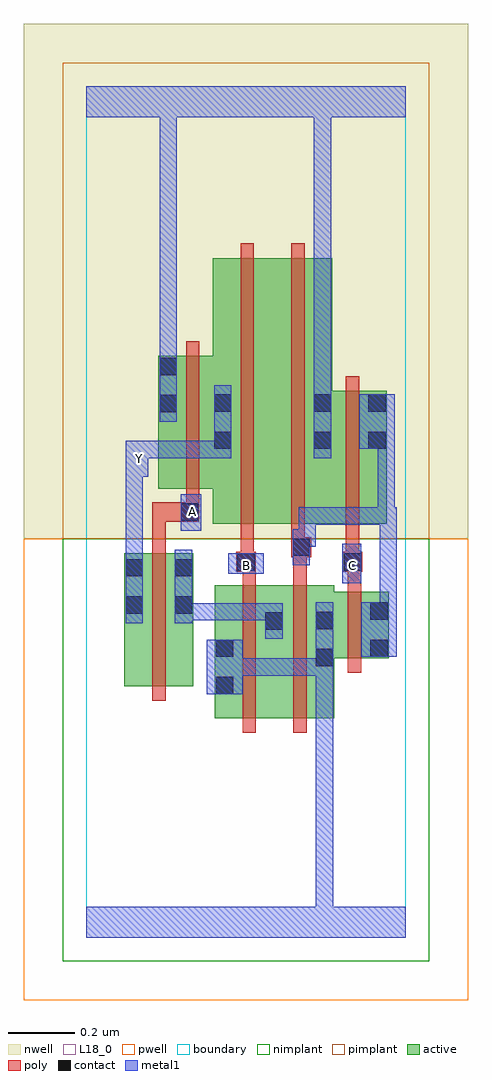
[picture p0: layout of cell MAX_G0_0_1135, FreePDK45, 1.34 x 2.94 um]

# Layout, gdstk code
import gdstk
lib = gdstk.Library(unit=1e-6, precision=1e-09)
def R(c, l, rs):  # rectangles x0, y0, x1, y1
    for r in rs: c.add(gdstk.rectangle(r[:2], r[2:], *l))
active = (1, 0)
pwell = (2, 0)
nwell = (3, 0)
nimplant = (4, 0)
pimplant = (5, 0)
poly = (9, 0)
contact = (10, 0)
metal1 = (11, 0)
L18_0 = (18, 0)
boundary = (235, 0)

max_g0_0_1135 = lib.new_cell('MAX_G0_0_1135')
R(max_g0_0_1135, active, [(0.386,0.66,0.594,1.06), (0.386,0.66,0.446,1.06), (0.534,0.66,0.746,1.06), (0.686,0.66,0.746,0.984), (0.114,0.756,0.322,1.156), (0.114,0.756,0.174,1.156), (0.262,0.756,0.322,1.156), (0.534,0.756,0.594,1.06), (0.686,0.84,0.91,1.04), (0.85,0.84,0.91,1.04), (0.38,1.244,0.56,2.044), (0.56,1.244,0.74,2.044), (0.68,1.244,0.904,1.644), (0.68,1.244,0.74,2.044), (0.844,1.244,0.904,1.644), (0.216,1.35,0.276,1.75), (0.216,1.35,0.44,1.75), (0.38,1.35,0.44,1.768)])
R(max_g0_0_1135, pwell, [(-0.188,-0.188,1.148,1.2)])
R(max_g0_0_1135, nwell, [(-0.188,1.2,1.148,2.748)])
R(max_g0_0_1135, nimplant, [(-0.072,-0.072,1.032,1.2)])
R(max_g0_0_1135, pimplant, [(-0.072,1.2,1.032,2.632)])
R(max_g0_0_1135, poly, [(0.47,0.616,0.51,1.104), (0.622,0.616,0.662,1.104), (0.198,0.712,0.238,1.2), (0.786,0.796,0.826,1.084), (0.786,1.044,0.826,1.14), (0.47,1.064,0.51,1.14), (0.622,1.064,0.662,1.184), (0.45,1.1,0.51,1.16), (0.77,1.1,0.83,1.16), (0.464,1.12,0.504,1.24), (0.464,1.12,0.504,1.16), (0.464,1.12,0.504,1.16), (0.78,1.12,0.82,1.24), (0.78,1.12,0.82,1.16), (0.78,1.12,0.82,1.16), (0.616,1.144,0.676,1.204), (0.622,1.144,0.662,1.184), (0.622,1.144,0.662,1.184), (0.198,1.16,0.238,1.29), (0.616,1.164,0.656,1.24), (0.464,1.2,0.504,2.088), (0.616,1.2,0.656,2.088), (0.78,1.2,0.82,1.688), (0.198,1.25,0.34,1.31), (0.3,1.27,0.34,1.31), (0.3,1.27,0.34,1.31), (0.3,1.27,0.34,1.346), (0.3,1.306,0.34,1.794)])
R(max_g0_0_1135, contact, [(0.39,0.732,0.442,0.784), (0.69,0.816,0.742,0.868), (0.39,0.844,0.442,0.896), (0.854,0.844,0.906,0.896), (0.538,0.926,0.59,0.978), (0.69,0.928,0.742,0.98), (0.854,0.956,0.906,1.008), (0.118,0.974,0.17,1.026), (0.266,0.974,0.318,1.026), (0.118,1.086,0.17,1.138), (0.266,1.086,0.318,1.138), (0.454,1.104,0.506,1.156), (0.774,1.104,0.826,1.156), (0.62,1.148,0.672,1.2), (0.284,1.254,0.336,1.306), (0.384,1.47,0.436,1.522), (0.684,1.47,0.736,1.522), (0.848,1.47,0.9,1.522), (0.22,1.58,0.272,1.632), (0.384,1.582,0.436,1.634), (0.684,1.582,0.736,1.634), (0.848,1.582,0.9,1.634), (0.22,1.692,0.272,1.744)])
R(max_g0_0_1135, metal1, [(0,0,0.96,0.092), (0.69,0.04,0.742,0.092), (0.69,0.04,0.742,0.092), (0.69,0.04,0.742,0.092), (0.69,0.04,0.742,0.092), (0.69,0.04,0.742,0.092), (0.69,0.04,0.742,0.092), (0.69,0.04,0.742,0.092), (0.69,0.04,0.742,0.092), (0.69,0.04,0.742,0.092), (0.69,0.04,0.742,0.092), (0.69,0.04,0.742,0.092), (0.69,0.04,0.742,0.092), (0.69,0.04,0.742,0.84), (0.362,0.732,0.47,0.896), (0.418,0.788,0.47,0.84), (0.418,0.788,0.47,0.84), (0.418,0.788,0.58,0.84), (0.528,0.788,0.58,0.84), (0.528,0.788,0.58,0.84), (0.528,0.788,0.58,0.84), (0.528,0.788,0.742,0.84), (0.69,0.788,0.742,1.008), (0.826,0.844,0.934,1.008), (0.538,0.898,0.59,1.006), (0.118,0.946,0.17,1.166), (0.266,0.946,0.318,1.166), (0.266,0.954,0.428,1.006), (0.376,0.954,0.428,1.006), (0.376,0.954,0.428,1.006), (0.376,0.954,0.428,1.006), (0.376,0.954,0.59,1.006), (0.882,0.956,0.934,1.294), (0.77,1.066,0.826,1.184), (0.426,1.094,0.534,1.156), (0.118,1.114,0.17,1.438), (0.62,1.12,0.672,1.228), (0.62,1.176,0.69,1.228), (0.638,1.176,0.69,1.294), (0.284,1.224,0.346,1.334), (0.638,1.242,0.928,1.294), (0.876,1.242,0.928,1.522), (0.876,1.242,0.928,1.294), (0.876,1.242,0.928,1.294), (0.876,1.242,0.934,1.294), (0.882,1.242,0.934,1.294), (0.882,1.242,0.934,1.294), (0.118,1.386,0.186,1.494), (0.134,1.442,0.186,1.494), (0.134,1.442,0.186,1.494), (0.134,1.442,0.186,1.494), (0.134,1.442,0.186,1.494), (0.134,1.442,0.186,1.494), (0.134,1.442,0.186,1.494), (0.134,1.442,0.436,1.494), (0.384,1.442,0.436,1.662), (0.684,1.442,0.736,1.662), (0.82,1.47,0.928,1.634), (0.22,1.552,0.272,1.772), (0.684,1.61,0.736,1.662), (0.684,1.61,0.736,1.662), (0.684,1.61,0.736,2.52), (0.22,1.72,0.272,2.52), (0,2.468,0.96,2.56), (0.22,2.468,0.272,2.52), (0.22,2.468,0.272,2.52), (0.22,2.468,0.272,2.52), (0.22,2.468,0.272,2.52), (0.22,2.468,0.272,2.52), (0.22,2.468,0.272,2.52), (0.22,2.468,0.272,2.52), (0.22,2.468,0.272,2.52), (0.22,2.468,0.272,2.52), (0.22,2.468,0.272,2.52), (0.22,2.468,0.272,2.52), (0.22,2.468,0.272,2.52), (0.22,2.468,0.272,2.52), (0.22,2.468,0.272,2.52), (0.22,2.468,0.272,2.52), (0.22,2.468,0.272,2.52), (0.684,2.468,0.736,2.52), (0.684,2.468,0.736,2.52), (0.684,2.468,0.736,2.52), (0.684,2.468,0.736,2.52), (0.684,2.468,0.736,2.52), (0.684,2.468,0.736,2.52)])
R(max_g0_0_1135, L18_0, [(0,0,0.96,0.092), (0.69,0.04,0.742,0.092), (0.69,0.04,0.742,0.092), (0.69,0.04,0.742,0.092), (0.69,0.04,0.742,0.092), (0.69,0.04,0.742,0.092), (0.69,0.04,0.742,0.092), (0.69,0.04,0.742,0.092), (0.69,0.04,0.742,0.092), (0.69,0.04,0.742,0.092), (0.69,0.04,0.742,0.092), (0.69,0.04,0.742,0.092), (0.69,0.04,0.742,0.092), (0.69,0.04,0.742,0.84), (0.362,0.732,0.47,0.896), (0.418,0.788,0.47,0.84), (0.418,0.788,0.47,0.84), (0.418,0.788,0.58,0.84), (0.528,0.788,0.58,0.84), (0.528,0.788,0.58,0.84), (0.528,0.788,0.58,0.84), (0.528,0.788,0.742,0.84), (0.69,0.788,0.742,1.008), (0.118,0.946,0.17,1.166), (0.77,1.066,0.826,1.184), (0.426,1.094,0.534,1.156), (0.454,1.094,0.506,1.146), (0.774,1.094,0.826,1.146), (0.118,1.114,0.17,1.438), (0.284,1.224,0.346,1.334), (0.294,1.254,0.346,1.306), (0.118,1.386,0.186,1.494), (0.134,1.414,0.186,1.466), (0.134,1.442,0.186,1.494), (0.134,1.442,0.186,1.494), (0.134,1.442,0.186,1.494), (0.134,1.442,0.186,1.494), (0.134,1.442,0.186,1.494), (0.134,1.442,0.186,1.494), (0.134,1.442,0.436,1.494), (0.384,1.442,0.436,1.662), (0.684,1.442,0.736,1.662), (0.22,1.552,0.272,1.772), (0.684,1.61,0.736,1.662), (0.684,1.61,0.736,1.662), (0.684,1.61,0.736,2.52), (0.22,1.72,0.272,2.52), (0,2.468,0.96,2.56), (0.22,2.468,0.272,2.52), (0.22,2.468,0.272,2.52), (0.22,2.468,0.272,2.52), (0.22,2.468,0.272,2.52), (0.22,2.468,0.272,2.52), (0.22,2.468,0.272,2.52), (0.22,2.468,0.272,2.52), (0.22,2.468,0.272,2.52), (0.22,2.468,0.272,2.52), (0.22,2.468,0.272,2.52), (0.22,2.468,0.272,2.52), (0.22,2.468,0.272,2.52), (0.22,2.468,0.272,2.52), (0.22,2.468,0.272,2.52), (0.22,2.468,0.272,2.52), (0.22,2.468,0.272,2.52), (0.684,2.468,0.736,2.52), (0.684,2.468,0.736,2.52), (0.684,2.468,0.736,2.52), (0.684,2.468,0.736,2.52), (0.684,2.468,0.736,2.52), (0.684,2.468,0.736,2.52)])
R(max_g0_0_1135, boundary, [(0,0,0.96,2.56)])
max_g0_0_1135.add(gdstk.Label('A', (0.32,1.28), layer=11, texttype=0))
max_g0_0_1135.add(gdstk.Label('B', (0.48,1.12), layer=11, texttype=0))
max_g0_0_1135.add(gdstk.Label('C', (0.8,1.12), layer=11, texttype=0))
max_g0_0_1135.add(gdstk.Label('Y', (0.16,1.44), layer=11, texttype=0))

lib.write_gds('MAX_G0_0_1135.gds')
